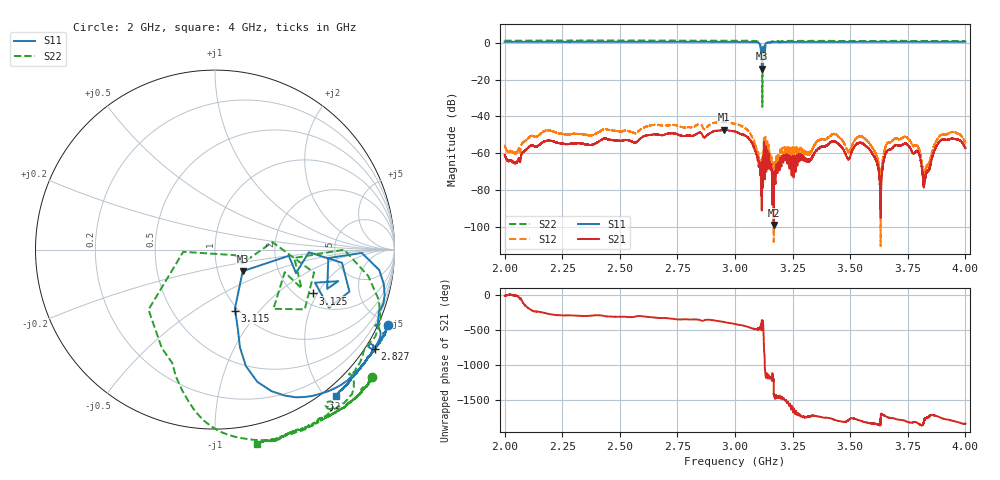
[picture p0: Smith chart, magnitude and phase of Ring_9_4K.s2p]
!Agilent Technologies,N5230C,SG49000117,A.08.50.07
!Agilent N5230C: A.08.50.07
!Date: Tuesday, May 07, 2024 03:03:35
!Correction: S11(Full 2 Port(1,2))
!S21(Full 2 Port(1,2))
!S12(Full 2 Port(1,2))
!S22(Full 2 Port(1,2))
!S2P File: Measurements: S11, S21, S12, S22:
# Hz S  MA  R 50
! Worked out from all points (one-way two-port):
!   20001 points, 2 GHz to 4 GHz, reference 50 ohm
!   highest |S21| = -47.12 dB at 2.953 GHz (marker M1); lowest = -98.8 dB at 3.168 GHz (marker M2)
!   lowest |S11| = -14.2 dB at 3.117 GHz (marker M3), VSWR 1.49, Z = 65.9 - j16.5 ohm
!   |S11| at or under -10 dB: 3.115653 GHz to 3.117537 GHz (1.884 MHz wide, 0.0604 % of centre)
!   |S22| runs from -34.8 to 1.2 dB; largest |S21 - S12| = 0.0038
!   S11 on the Smith chart (normalised r, x): 2 GHz: -0.59, -4.71; 2.827 GHz: -0.32, -3.48; 3.115 GHz: 0.97, -0.75; 3.125 GHz: 2.41, -1.84; 4 GHz: -0.15, -2.11
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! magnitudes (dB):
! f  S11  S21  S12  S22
! 2 GHz  0.4  -60.7  -55.5  1.0
! 2.333 GHz  0.5  -54.5  -49.5  1.1
! 2.667 GHz  0.4  -49.8  -44.6  1.1
! 2.827 GHz  0.4  -49.9  -45.2  1.0
! 2.953 GHz  0.4  -47.1  -43.0  1.0
! 3 GHz  0.4  -48.1  -44.0  1.0
! 3.065 GHz  0.4  -52.4  -48.9  0.9
! 3.115 GHz  -8.9  -66.3  -66.3  -4.0
! 3.117 GHz  -14.2  -70.6  -71.6  -6.0
! 3.125 GHz  -4.5  -53.7  -50.9  -5.6
! 3.14 GHz  -0.2  -58.4  -53.6  0.1
! 3.168 GHz  0.4  -98.8  -108.0  1.0
! 3.214 GHz  0.3  -61.0  -56.8  0.9
! 3.333 GHz  0.4  -62.2  -57.8  0.9
! 3.493 GHz  0.4  -63.2  -59.5  0.9
! 3.551 GHz  0.4  -54.5  -51.0  0.9
! 3.631 GHz  0.4  -87.1  -79.4  0.9
! 3.667 GHz  0.4  -58.1  -54.3  0.9
! 3.792 GHz  0.4  -58.6  -55.9  0.9
! 3.822 GHz  0.4  -75.2  -72.2  0.8
! 3.892 GHz  0.4  -53.0  -50.2  0.8
! 4 GHz  0.5  -57.2  -54.1  0.9
